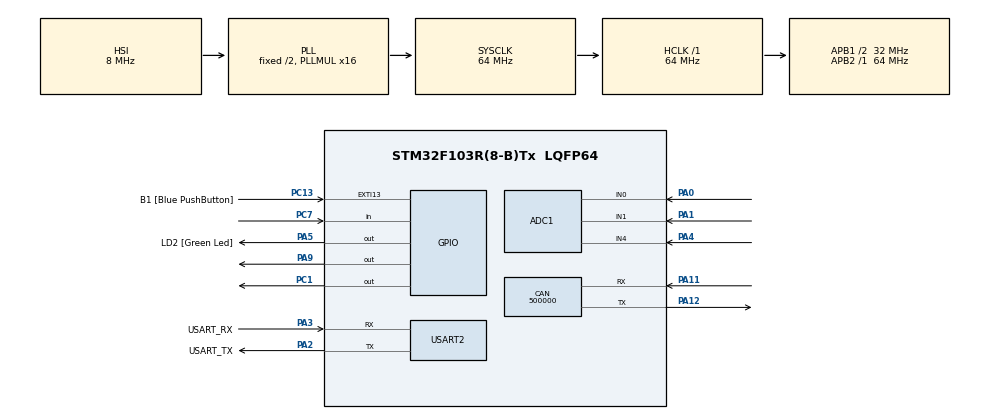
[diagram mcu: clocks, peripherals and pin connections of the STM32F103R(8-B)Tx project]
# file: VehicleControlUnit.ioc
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ADC1.Channel-12\#ChannelRegularConversion=ADC_CHANNEL_0
ADC1.Channel-13\#ChannelRegularConversion=ADC_CHANNEL_1
ADC1.Channel-14\#ChannelRegularConversion=ADC_CHANNEL_4
ADC1.ContinuousConvMode=ENABLE
ADC1.NbrOfConversion=3
ADC1.NbrOfConversionFlag=1
ADC1.Rank-12\#ChannelRegularConversion=1
ADC1.Rank-13\#ChannelRegularConversion=2
ADC1.Rank-14\#ChannelRegularConversion=3
ADC1.SamplingTime-12\#ChannelRegularConversion=ADC_SAMPLETIME_55CYCLES_5
ADC1.SamplingTime-13\#ChannelRegularConversion=ADC_SAMPLETIME_55CYCLES_5
ADC1.SamplingTime-14\#ChannelRegularConversion=ADC_SAMPLETIME_55CYCLES_5
ADC1.master=1
CAN.BS1=CAN_BS1_2TQ
CAN.CalculateBaudRate=500000
CAN.CalculateTimeBit=2000
CAN.CalculateTimeQuantum=500.0
CAN.Mode=CAN_MODE_NORMAL
CAN.NART=DISABLE
Dma.ADC1.0.Direction=DMA_PERIPH_TO_MEMORY
Dma.ADC1.0.Instance=DMA1_Channel1
Dma.ADC1.0.MemDataAlignment=DMA_MDATAALIGN_HALFWORD
Dma.ADC1.0.MemInc=DMA_MINC_ENABLE
Dma.ADC1.0.Mode=DMA_CIRCULAR
Dma.ADC1.0.PeriphDataAlignment=DMA_PDATAALIGN_HALFWORD
Dma.ADC1.0.PeriphInc=DMA_PINC_DISABLE
Dma.ADC1.0.Priority=DMA_PRIORITY_VERY_HIGH
Dma.Request0=ADC1
Mcu.Family=STM32F1
Mcu.Name=STM32F103R(8-B)Tx
Mcu.Package=LQFP64
NVIC.DMA1_Channel1_IRQn=true\:0\:0\:false\:false\:true\:false\:true\:true
NVIC.EXTI15_10_IRQn=true\:0\:0\:false\:false\:true\:true\:true\:true
NVIC.PriorityGroup=NVIC_PRIORITYGROUP_4
NVIC.USB_HP_CAN1_TX_IRQn=true\:0\:0\:false\:false\:true\:true\:true\:true
PA0-WKUP.Signal=ADCx_IN0
PA1.Signal=ADCx_IN1
PA11.Mode=CAN_Activate
PA11.Signal=CAN_RX
PA12.Mode=CAN_Activate
PA12.Signal=CAN_TX
PA13.GPIO_Label=TMS
PA13.Mode=Serial_Wire
PA13.Signal=SYS_JTMS-SWDIO
PA14.GPIO_Label=TCK
PA14.Mode=Serial_Wire
PA14.Signal=SYS_JTCK-SWCLK
PA2.GPIO_Label=USART_TX
PA2.GPIO_Mode=GPIO_MODE_AF_PP
PA2.GPIO_PuPd=GPIO_NOPULL
PA2.GPIO_Speed=GPIO_SPEED_FREQ_LOW
PA2.Mode=Asynchronous
PA2.Signal=USART2_TX
PA3.GPIO_Label=USART_RX
PA3.GPIO_Mode=GPIO_MODE_AF_PP
PA3.GPIO_PuPd=GPIO_NOPULL
PA3.GPIO_Speed=GPIO_SPEED_FREQ_LOW
PA3.Mode=Asynchronous
PA3.Signal=USART2_RX
PA4.Signal=ADCx_IN4
PA5.GPIO_Label=LD2 [Green Led]
PA5.GPIO_ModeDefaultOutputPP=GPIO_MODE_OUTPUT_PP
PA5.GPIO_PuPd=GPIO_NOPULL
PA5.GPIO_Speed=GPIO_SPEED_FREQ_LOW
PA5.Signal=GPIO_Output
PA9.Signal=GPIO_Output
PB3.Signal=SYS_JTDO-TRACESWO
PC1.Signal=GPIO_Output
PC13-TAMPER-RTC.GPIO_Label=B1 [Blue PushButton]
PC13-TAMPER-RTC.GPIO_PuPd=GPIO_NOPULL
PC13-TAMPER-RTC.Signal=GPXTI13
PC14-OSC32_IN.Mode=LSE-External-Oscillator
PC14-OSC32_IN.Signal=RCC_OSC32_IN
PC15-OSC32_OUT.Mode=LSE-External-Oscillator
PC15-OSC32_OUT.Signal=RCC_OSC32_OUT
PC7.GPIO_PuPd=GPIO_PULLUP
PC7.Signal=GPIO_Input
PD0-OSC_IN.Mode=HSE-External-Clock-Source
PD0-OSC_IN.Signal=RCC_OSC_IN
PD1-OSC_OUT.Mode=HSE-External-Clock-Source
PD1-OSC_OUT.Signal=RCC_OSC_OUT
ProjectManager.HeapSize=0x200
ProjectManager.StackSize=0x400
ProjectManager.TargetToolchain=STM32CubeIDE
RCC.ADCPresc=RCC_ADCPCLK2_DIV6
RCC.AHBFreq_Value=64000000
RCC.APB1CLKDivider=RCC_HCLK_DIV2
RCC.APB1Freq_Value=32000000
RCC.APB1TimFreq_Value=64000000
RCC.APB2Freq_Value=64000000
RCC.APB2TimFreq_Value=64000000
RCC.HCLKFreq_Value=64000000
RCC.PLLMUL=RCC_PLL_MUL16
RCC.RTCClockSelection=RCC_RTCCLKSOURCE_LSE
RCC.SYSCLKFreq_VALUE=64000000
RCC.SYSCLKSource=RCC_SYSCLKSOURCE_PLLCLK
RCC.USBFreq_Value=64000000
SH.ADCx_IN0.0=ADC1_IN0,IN0
SH.ADCx_IN1.0=ADC1_IN1,IN1
SH.ADCx_IN4.0=ADC1_IN4,IN4
USART2.VirtualMode=VM_ASYNC
board=NUCLEO-F103RB

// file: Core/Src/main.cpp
/* USER CODE BEGIN Header */
/**
  ****************************************************************************
  * @file           : main.cpp
  * @brief          : Main program body
  ****************************************************************************
  * @attention
  *
  * <h2><center>&copy; Copyright (c) 2021 STMicroelectronics.
  * All rights reserved.</center></h2>
  *
  * This software component is licensed by ST under BSD 3-Clause license,
  * the "License"; You may not use this file except in compliance with the
  * License. You may obtain a copy of the License at:
  *                        opensource.org/licenses/BSD-3-Clause
  *
  ****************************************************************************
  */
/* USER CODE END Header */
#include "main.h"

/* USER CODE BEGIN Includes */
#include <MainLib/Inc/MainLib.hpp>

#include <stdlib.h>
#include <stdio.h>
/* USER CODE END Includes */

ADC_HandleTypeDef hadc1;
DMA_HandleTypeDef hdma_adc1;

CAN_HandleTypeDef hcan;

UART_HandleTypeDef huart2;

/* USER CODE BEGIN PV */
auto DisplayFatalError = []()
{
	uint32_t lastChangeOfLight = HAL_GetTick();
	bool light = true;
	while (1)
	{
	  // flash the error light
	  if (light)
	  {
		  HAL_GPIO_WritePin(GPIOA, GPIO_PIN_9, GPIO_PIN_SET);
	  }
	  else
	  {
		  HAL_GPIO_WritePin(GPIOA, GPIO_PIN_9, GPIO_PIN_RESET);
	  }
	  if (HAL_GetTick() - lastChangeOfLight > 1000)
	  {
		  light = !light;
		  lastChangeOfLight = HAL_GetTick();
	  }
	}
};
VehicleControlUnit::MainLib::Main VCU(hcan, hadc1, DisplayFatalError);

void HAL_CAN_TxMailbox0CompleteCallback(CAN_HandleTypeDef* hcan)
{
	VCU.MailboxCompletedCallbackInvoked(CAN_TX_MAILBOX0);
}

void HAL_CAN_TxMailbox1CompleteCallback(CAN_HandleTypeDef* hcan)
{
	VCU.MailboxCompletedCallbackInvoked(CAN_TX_MAILBOX1);
}

void HAL_CAN_TxMailbox2CompleteCallback(CAN_HandleTypeDef* hcan)
{
	VCU.MailboxCompletedCallbackInvoked(CAN_TX_MAILBOX2);
}
/* USER CODE END PV */

void SystemClock_Config(void);
static void MX_GPIO_Init(void);
static void MX_DMA_Init(void);
static void MX_USART2_UART_Init(void);
static void MX_CAN_Init(void);
static void MX_ADC1_Init(void);

int main(void)
{

  /* MCU Configuration--------------------------------------------------------*/

  /* Reset of all peripherals, Initializes the Flash interface and the Systick. */
  HAL_Init();

  /* Configure the system clock */
  SystemClock_Config();

  /* Initialize all configured peripherals */
  MX_GPIO_Init();
  MX_DMA_Init();
  MX_USART2_UART_Init();
  MX_CAN_Init();
  MX_ADC1_Init();
  /* USER CODE BEGIN 2 */
  if (HAL_OK != HAL_CAN_ActivateNotification(&hcan, CAN_IT_TX_MAILBOX_EMPTY))
  {
	  printf("Failed to turn on notification.\n");
  }
  VCU.Setup();
  /* USER CODE END 2 */

  /* Infinite loop */
  while (1)
  {

    /* USER CODE BEGIN 3 */
	// HAL_Delay(5);
	VCU.Loop();
  }
  /* USER CODE END 3 */
}

void SystemClock_Config(void)
{
  RCC_OscInitTypeDef RCC_OscInitStruct = {0};
  RCC_ClkInitTypeDef RCC_ClkInitStruct = {0};
  RCC_PeriphCLKInitTypeDef PeriphClkInit = {0};

  /** Initializes the RCC Oscillators according to the specified parameters
  * in the RCC_OscInitTypeDef structure.
  */
  RCC_OscInitStruct.OscillatorType = RCC_OSCILLATORTYPE_HSI;
  RCC_OscInitStruct.HSIState = RCC_HSI_ON;
  RCC_OscInitStruct.HSICalibrationValue = RCC_HSICALIBRATION_DEFAULT;
  RCC_OscInitStruct.PLL.PLLState = RCC_PLL_ON;
  RCC_OscInitStruct.PLL.PLLSource = RCC_PLLSOURCE_HSI_DIV2;
  RCC_OscInitStruct.PLL.PLLMUL = RCC_PLL_MUL16;
  if (HAL_RCC_OscConfig(&RCC_OscInitStruct) != HAL_OK)
  {
    Error_Handler();
  }

  /** Initializes the CPU, AHB and APB buses clocks
  */
  RCC_ClkInitStruct.ClockType = RCC_CLOCKTYPE_HCLK|RCC_CLOCKTYPE_SYSCLK
                              |RCC_CLOCKTYPE_PCLK1|RCC_CLOCKTYPE_PCLK2;
  RCC_ClkInitStruct.SYSCLKSource = RCC_SYSCLKSOURCE_PLLCLK;
  RCC_ClkInitStruct.AHBCLKDivider = RCC_SYSCLK_DIV1;
  RCC_ClkInitStruct.APB1CLKDivider = RCC_HCLK_DIV2;
  RCC_ClkInitStruct.APB2CLKDivider = RCC_HCLK_DIV1;

  if (HAL_RCC_ClockConfig(&RCC_ClkInitStruct, FLASH_LATENCY_2) != HAL_OK)
  {
    Error_Handler();
  }
  PeriphClkInit.PeriphClockSelection = RCC_PERIPHCLK_ADC;
  PeriphClkInit.AdcClockSelection = RCC_ADCPCLK2_DIV6;
  if (HAL_RCCEx_PeriphCLKConfig(&PeriphClkInit) != HAL_OK)
  {
    Error_Handler();
  }
}

static void MX_ADC1_Init(void)
{

  ADC_ChannelConfTypeDef sConfig = {0};

  /** Common config
  */
  hadc1.Instance = ADC1;
  hadc1.Init.ScanConvMode = ADC_SCAN_ENABLE;
  hadc1.Init.ContinuousConvMode = ENABLE;
  hadc1.Init.DiscontinuousConvMode = DISABLE;
  hadc1.Init.ExternalTrigConv = ADC_SOFTWARE_START;
  hadc1.Init.DataAlign = ADC_DATAALIGN_RIGHT;
  hadc1.Init.NbrOfConversion = 3;
  if (HAL_ADC_Init(&hadc1) != HAL_OK)
  {
    Error_Handler();
  }

  /** Configure Regular Channel
  */
  sConfig.Channel = ADC_CHANNEL_0;
  sConfig.Rank = ADC_REGULAR_RANK_1;
  sConfig.SamplingTime = ADC_SAMPLETIME_55CYCLES_5;
  if (HAL_ADC_ConfigChannel(&hadc1, &sConfig) != HAL_OK)
  {
    Error_Handler();
  }

  /** Configure Regular Channel
  */
  sConfig.Channel = ADC_CHANNEL_1;
  sConfig.Rank = ADC_REGULAR_RANK_2;
  if (HAL_ADC_ConfigChannel(&hadc1, &sConfig) != HAL_OK)
  {
    Error_Handler();
  }

  /** Configure Regular Channel
  */
  sConfig.Channel = ADC_CHANNEL_4;
  sConfig.Rank = ADC_REGULAR_RANK_3;
  if (HAL_ADC_ConfigChannel(&hadc1, &sConfig) != HAL_OK)
  {
    Error_Handler();
  }

}

static void MX_CAN_Init(void)
{

  hcan.Instance = CAN1;
  hcan.Init.Prescaler = 16;
  hcan.Init.Mode = CAN_MODE_NORMAL;
  hcan.Init.SyncJumpWidth = CAN_SJW_1TQ;
  hcan.Init.TimeSeg1 = CAN_BS1_2TQ;
  hcan.Init.TimeSeg2 = CAN_BS2_1TQ;
  hcan.Init.TimeTriggeredMode = DISABLE;
  hcan.Init.AutoBusOff = DISABLE;
  hcan.Init.AutoWakeUp = DISABLE;
  hcan.Init.AutoRetransmission = DISABLE;
  hcan.Init.ReceiveFifoLocked = DISABLE;
  hcan.Init.TransmitFifoPriority = DISABLE;
  if (HAL_CAN_Init(&hcan) != HAL_OK)
  {
    Error_Handler();
  }
  /* USER CODE BEGIN CAN_Init 2 */

  // TEST CODE
  CAN_FilterTypeDef canfilterconfig;

  canfilterconfig.FilterActivation = CAN_FILTER_ENABLE;
  canfilterconfig.FilterBank = 10;  // anything between 0 to SlaveStartFilterBank
  canfilterconfig.FilterFIFOAssignment = CAN_RX_FIFO0;
  canfilterconfig.FilterIdHigh = 0x6AE<<5;
  canfilterconfig.FilterIdLow = 0x0;
  canfilterconfig.FilterMaskIdHigh = 0x0<<13;
  canfilterconfig.FilterMaskIdLow = 0x0000;
  canfilterconfig.FilterMode = CAN_FILTERMODE_IDMASK;
  canfilterconfig.FilterScale = CAN_FILTERSCALE_32BIT;
  canfilterconfig.SlaveStartFilterBank = 13;  // 13 to 27 are assigned to slave CAN (CAN 2) OR 0 to 12 are assgned to CAN1

  HAL_CAN_ConfigFilter(&hcan, &canfilterconfig);
  /* USER CODE END CAN_Init 2 */

}

static void MX_USART2_UART_Init(void)
{

  huart2.Instance = USART2;
  huart2.Init.BaudRate = 115200;
  huart2.Init.WordLength = UART_WORDLENGTH_8B;
  huart2.Init.StopBits = UART_STOPBITS_1;
  huart2.Init.Parity = UART_PARITY_NONE;
  huart2.Init.Mode = UART_MODE_TX_RX;
  huart2.Init.HwFlowCtl = UART_HWCONTROL_NONE;
  huart2.Init.OverSampling = UART_OVERSAMPLING_16;
  if (HAL_UART_Init(&huart2) != HAL_OK)
  {
    Error_Handler();
  }

}

static void MX_DMA_Init(void)
{

  /* DMA controller clock enable */
  __HAL_RCC_DMA1_CLK_ENABLE();

  /* DMA interrupt init */
  /* DMA1_Channel1_IRQn interrupt configuration */
  HAL_NVIC_SetPriority(DMA1_Channel1_IRQn, 0, 0);
  HAL_NVIC_EnableIRQ(DMA1_Channel1_IRQn);

}

static void MX_GPIO_Init(void)
{
  GPIO_InitTypeDef GPIO_InitStruct = {0};

  /* GPIO Ports Clock Enable */
  __HAL_RCC_GPIOC_CLK_ENABLE();
  __HAL_RCC_GPIOD_CLK_ENABLE();
  __HAL_RCC_GPIOA_CLK_ENABLE();
  __HAL_RCC_GPIOB_CLK_ENABLE();

  /*Configure GPIO pin Output Level */
  HAL_GPIO_WritePin(GPIOC, GPIO_PIN_1, GPIO_PIN_RESET);

  /*Configure GPIO pin Output Level */
  HAL_GPIO_WritePin(GPIOA, LD2_Pin|GPIO_PIN_9, GPIO_PIN_RESET);

  /*Configure GPIO pin : B1_Pin */
  GPIO_InitStruct.Pin = B1_Pin;
  GPIO_InitStruct.Mode = GPIO_MODE_IT_RISING;
  GPIO_InitStruct.Pull = GPIO_NOPULL;
  HAL_GPIO_Init(B1_GPIO_Port, &GPIO_InitStruct);

  /*Configure GPIO pin : PC1 */
  GPIO_InitStruct.Pin = GPIO_PIN_1;
  GPIO_InitStruct.Mode = GPIO_MODE_OUTPUT_PP;
  GPIO_InitStruct.Pull = GPIO_NOPULL;
  GPIO_InitStruct.Speed = GPIO_SPEED_FREQ_LOW;
  HAL_GPIO_Init(GPIOC, &GPIO_InitStruct);

  /*Configure GPIO pins : LD2_Pin PA9 */
  GPIO_InitStruct.Pin = LD2_Pin|GPIO_PIN_9;
  GPIO_InitStruct.Mode = GPIO_MODE_OUTPUT_PP;
  GPIO_InitStruct.Pull = GPIO_NOPULL;
  GPIO_InitStruct.Speed = GPIO_SPEED_FREQ_LOW;
  HAL_GPIO_Init(GPIOA, &GPIO_InitStruct);

  /*Configure GPIO pin : PC7 */
  GPIO_InitStruct.Pin = GPIO_PIN_7;
  GPIO_InitStruct.Mode = GPIO_MODE_INPUT;
  GPIO_InitStruct.Pull = GPIO_PULLUP;
  HAL_GPIO_Init(GPIOC, &GPIO_InitStruct);

  /* EXTI interrupt init*/
  HAL_NVIC_SetPriority(EXTI15_10_IRQn, 0, 0);
  HAL_NVIC_EnableIRQ(EXTI15_10_IRQn);

}

void Error_Handler(void)
{
  /* USER CODE BEGIN Error_Handler_Debug */
  /* User can add his own implementation to report the HAL error return state */
  __disable_irq();
  DisplayFatalError();
  /* USER CODE END Error_Handler_Debug */
}
